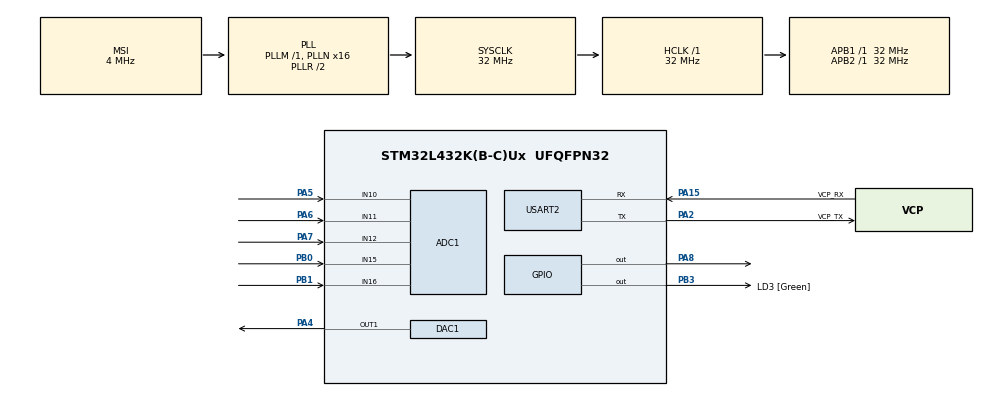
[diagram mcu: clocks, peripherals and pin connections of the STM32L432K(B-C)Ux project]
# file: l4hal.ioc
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ADC1.Channel-0\#ChannelRegularConversion=ADC_CHANNEL_10
ADC1.Channel-1\#ChannelRegularConversion=ADC_CHANNEL_11
ADC1.Channel-2\#ChannelRegularConversion=ADC_CHANNEL_12
ADC1.Channel-3\#ChannelRegularConversion=ADC_CHANNEL_10
ADC1.Channel-4\#ChannelRegularConversion=ADC_CHANNEL_15
ADC1.Channel-5\#ChannelRegularConversion=ADC_CHANNEL_16
ADC1.ClockPrescaler=ADC_CLOCK_ASYNC_DIV4
ADC1.ContinuousConvMode=ENABLE
ADC1.DMAContinuousRequests=ENABLE
ADC1.EOCSelection=ADC_EOC_SEQ_CONV
ADC1.NbrOfConversion=6
ADC1.NbrOfConversionFlag=1
ADC1.OffsetNumber-0\#ChannelRegularConversion=ADC_OFFSET_NONE
ADC1.OffsetNumber-1\#ChannelRegularConversion=ADC_OFFSET_NONE
ADC1.OffsetNumber-2\#ChannelRegularConversion=ADC_OFFSET_NONE
ADC1.OffsetNumber-3\#ChannelRegularConversion=ADC_OFFSET_NONE
ADC1.OffsetNumber-4\#ChannelRegularConversion=ADC_OFFSET_NONE
ADC1.OffsetNumber-5\#ChannelRegularConversion=ADC_OFFSET_NONE
ADC1.Rank-0\#ChannelRegularConversion=1
ADC1.Rank-1\#ChannelRegularConversion=2
ADC1.Rank-2\#ChannelRegularConversion=3
ADC1.Rank-3\#ChannelRegularConversion=4
ADC1.Rank-4\#ChannelRegularConversion=5
ADC1.Rank-5\#ChannelRegularConversion=6
ADC1.SamplingTime-0\#ChannelRegularConversion=ADC_SAMPLETIME_47CYCLES_5
ADC1.SamplingTime-1\#ChannelRegularConversion=ADC_SAMPLETIME_47CYCLES_5
ADC1.SamplingTime-2\#ChannelRegularConversion=ADC_SAMPLETIME_47CYCLES_5
ADC1.SamplingTime-3\#ChannelRegularConversion=ADC_SAMPLETIME_47CYCLES_5
ADC1.SamplingTime-4\#ChannelRegularConversion=ADC_SAMPLETIME_47CYCLES_5
ADC1.SamplingTime-5\#ChannelRegularConversion=ADC_SAMPLETIME_47CYCLES_5
ADC1.master=1
Dma.ADC1.0.Direction=DMA_PERIPH_TO_MEMORY
Dma.ADC1.0.Instance=DMA2_Channel3
Dma.ADC1.0.MemDataAlignment=DMA_MDATAALIGN_HALFWORD
Dma.ADC1.0.MemInc=DMA_MINC_ENABLE
Dma.ADC1.0.Mode=DMA_CIRCULAR
Dma.ADC1.0.PeriphDataAlignment=DMA_PDATAALIGN_HALFWORD
Dma.ADC1.0.PeriphInc=DMA_PINC_DISABLE
Dma.ADC1.0.Priority=DMA_PRIORITY_LOW
Dma.Request0=ADC1
Mcu.Family=STM32L4
Mcu.Name=STM32L432K(B-C)Ux
Mcu.Package=UFQFPN32
NVIC.DMA2_Channel3_IRQn=true\:0\:0\:false\:false\:true\:false\:true
NVIC.PriorityGroup=NVIC_PRIORITYGROUP_4
NVIC.TIM1_BRK_TIM15_IRQn=true\:0\:0\:false\:false\:true\:true\:true
NVIC.TIM2_IRQn=true\:0\:0\:false\:false\:true\:true\:true
PA0.GPIO_Label=MCO [High speed clock in]
PA0.Mode=HSE-External-Clock-Source-for-LittleOrca
PA0.Signal=RCC_CK_IN
PA13\ (JTMS-SWDIO).GPIO_Label=SWDIO
PA13\ (JTMS-SWDIO).Mode=Serial_Wire
PA13\ (JTMS-SWDIO).Signal=SYS_JTMS-SWDIO
PA14\ (JTCK-SWCLK).GPIO_Label=SWCLK
PA14\ (JTCK-SWCLK).Mode=Serial_Wire
PA14\ (JTCK-SWCLK).Signal=SYS_JTCK-SWCLK
PA15\ (JTDI).GPIO_Label=VCP_RX
PA15\ (JTDI).Mode=Asynchronous
PA15\ (JTDI).Signal=USART2_RX
PA2.GPIO_Label=VCP_TX
PA2.Mode=Asynchronous
PA2.Signal=USART2_TX
PA4.Signal=COMP_DAC11_group
PA5.Signal=ADCx_IN10
PA6.Signal=ADCx_IN11
PA7.Signal=ADCx_IN12
PA8.Signal=GPIO_Output
PB0.Signal=ADCx_IN15
PB1.Signal=ADCx_IN16
PB3\ (JTDO-TRACESWO).GPIO_Label=LD3 [Green]
PB3\ (JTDO-TRACESWO).Signal=GPIO_Output
PC14-OSC32_IN\ (PC14).Mode=LSE-External-Oscillator
PC14-OSC32_IN\ (PC14).Signal=RCC_OSC32_IN
PC15-OSC32_OUT\ (PC15).Mode=LSE-External-Oscillator
PC15-OSC32_OUT\ (PC15).Signal=RCC_OSC32_OUT
ProjectManager.HeapSize=0x200
ProjectManager.StackSize=0x400
ProjectManager.TargetToolchain=Makefile
RCC.ADCFreq_Value=32000000
RCC.AHBFreq_Value=32000000
RCC.APB1Freq_Value=32000000
RCC.APB1TimFreq_Value=32000000
RCC.APB2Freq_Value=32000000
RCC.APB2TimFreq_Value=32000000
RCC.CortexFreq_Value=32000000
RCC.HCLKFreq_Value=32000000
RCC.HSE_VALUE=8000000
RCC.HSI16_VALUE=16000000
RCC.HSI48_VALUE=48000000
RCC.HSI_VALUE=16000000
RCC.MSI_VALUE=4000000
RCC.PLLMUL=RCC_PLLMUL_4
RCC.PLLN=16
RCC.PLLSAI1N=16
RCC.SYSCLKFreq_VALUE=32000000
RCC.SYSCLKSource=RCC_SYSCLKSOURCE_PLLCLK
RCC.USBFreq_Value=32000000
RCC.VCOOutputFreq_Value=64000000
SH.ADCx_IN10.0=ADC1_IN10,IN10-Single-Ended
SH.ADCx_IN11.0=ADC1_IN11,IN11-Single-Ended
SH.ADCx_IN12.0=ADC1_IN12,IN12-Single-Ended
SH.ADCx_IN15.0=ADC1_IN15,IN15-Single-Ended
SH.ADCx_IN16.0=ADC1_IN16,IN16-Single-Ended
SH.COMP_DAC11_group.0=DAC1_OUT1,DAC_OUT1
TIM15.Period=10
TIM15.Prescaler=128
TIM2.Period=10
TIM2.Prescaler=200
USART2.VirtualMode-Asynchronous=VM_ASYNC
VP_TIM15_VS_ClockSourceINT.Mode=Internal
VP_TIM2_VS_ClockSourceINT.Mode=Internal
board=NUCLEO-L432KC

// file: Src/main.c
/* USER CODE BEGIN Header */
/**
  ******************************************************************************
  * @file           : main.c
  * @brief          : Main program body
  ******************************************************************************
  * @attention
  *
  * <h2><center>&copy; Copyright (c) 2020 STMicroelectronics.
  * All rights reserved.</center></h2>
  *
  * This software component is licensed by ST under BSD 3-Clause license,
  * the "License"; You may not use this file except in compliance with the
  * License. You may obtain a copy of the License at:
  *                        opensource.org/licenses/BSD-3-Clause
  *
  ******************************************************************************
  */
/* USER CODE END Header */

#include "main.h"

/* USER CODE BEGIN Includes */
#include <string.h>
/* USER CODE END Includes */

ADC_HandleTypeDef hadc1;
DMA_HandleTypeDef hdma_adc1;

DAC_HandleTypeDef hdac1;

TIM_HandleTypeDef htim2;
TIM_HandleTypeDef htim15;

UART_HandleTypeDef huart2;

void SystemClock_Config(void);
static void MX_GPIO_Init(void);
static void MX_DMA_Init(void);
static void MX_ADC1_Init(void);
static void MX_DAC1_Init(void);
static void MX_USART2_UART_Init(void);
static void MX_TIM2_Init(void);
static void MX_TIM15_Init(void);

/* USER CODE BEGIN 0 */
void debugPrintln(UART_HandleTypeDef *huart, char _out[]){
 HAL_UART_Transmit(huart, (uint8_t *) _out, strlen(_out), 10);
 char newline[4] = "\r\n";
 HAL_UART_Transmit(huart, (uint8_t *) newline, 2, 10);
}
void HAL_ADC_ConvHalfCpltCallback(ADC_HandleTypeDef* hadc)
{
  value_adc = ADC_BUF[0];
}
void HAL_ADC_ConvCpltCallback(ADC_HandleTypeDef* hadc)
{
  value_adc = ADC_BUF[3];
}
/* USER CODE END 0 */

int main(void)
{

  /* MCU Configuration--------------------------------------------------------*/

  /* Reset of all peripherals, Initializes the Flash interface and the Systick. */
  HAL_Init();

  /* Configure the system clock */
  SystemClock_Config();

  /* Initialize all configured peripherals */
  MX_GPIO_Init();
  MX_DMA_Init();
  MX_ADC1_Init();
  MX_DAC1_Init();
  MX_USART2_UART_Init();
  MX_TIM2_Init();
  MX_TIM15_Init();
  /* USER CODE BEGIN 2 */
  debugPrintln(&huart2, (char*) "Setting effects....");
  default_init_reverb(&r);
  default_init_antinoise(&a);
  default_init_chorus(&c);
  debugPrintln(&huart2, (char*) "Setting up HAL....");
  HAL_DAC_Start(&hdac1, DAC_CHANNEL_1);
  debugPrintln(&huart2, (char*) "(ADC IT)");
  HAL_ADC_Start_DMA(&hadc1, (uint32_t*)&ADC_BUF, ADC_BUF_LEN);
  //HAL_ADCEx_Calibration_Start(&hadc1, ADC_SINGLE_ENDED);
  //HAL_ADC_Start_IT(&hadc1);
  debugPrintln(&huart2, (char*) "(TIM IT)");
  HAL_TIM_Base_Start_IT(&htim2);
  HAL_TIM_Base_Start_IT(&htim15);
  debugPrintln(&huart2, (char*) "done.");
  /* USER CODE END 2 */

  /* Infinite loop */
  /* USER CODE BEGIN WHILE */
  //c.freq = 0.01;
  while (1)
  {

    uint16_t POT1 = ADC_BUF[1]; //A5
    uint16_t POT2 = ADC_BUF[2]; //A6
    uint16_t POT3 = ADC_BUF[4]; //D3
    uint16_t POT4 = ADC_BUF[5]; //D6

    //c.amp = 0.1;
    c.amp = 1-(atan((float)POT1/50)*(2/PI));
    //c.wet = ((double)POT2/4095);
    c.freq = 10-(atan((float)POT2/250)*(2/PI)*10);
    r.fade = ((float)POT3/4095)*0.5;
    int rawBuff = (((float)POT4/4095)*r.maxBufferSize);
    rawBuff = (floor(rawBuff / 100) * 100);
    r.bufferSize = rawBuff+1;
    /* USER CODE END WHILE */

  }
}

void SystemClock_Config(void)
{
  RCC_OscInitTypeDef RCC_OscInitStruct = {0};
  RCC_ClkInitTypeDef RCC_ClkInitStruct = {0};
  RCC_PeriphCLKInitTypeDef PeriphClkInit = {0};

  /** Configure LSE Drive Capability
  */
  HAL_PWR_EnableBkUpAccess();
  __HAL_RCC_LSEDRIVE_CONFIG(RCC_LSEDRIVE_LOW);
  /** Initializes the CPU, AHB and APB busses clocks
  */
  RCC_OscInitStruct.OscillatorType = RCC_OSCILLATORTYPE_LSE|RCC_OSCILLATORTYPE_MSI;
  RCC_OscInitStruct.LSEState = RCC_LSE_ON;
  RCC_OscInitStruct.MSIState = RCC_MSI_ON;
  RCC_OscInitStruct.MSICalibrationValue = 0;
  RCC_OscInitStruct.MSIClockRange = RCC_MSIRANGE_6;
  RCC_OscInitStruct.PLL.PLLState = RCC_PLL_ON;
  RCC_OscInitStruct.PLL.PLLSource = RCC_PLLSOURCE_MSI;
  RCC_OscInitStruct.PLL.PLLM = 1;
  RCC_OscInitStruct.PLL.PLLN = 16;
  RCC_OscInitStruct.PLL.PLLP = RCC_PLLP_DIV7;
  RCC_OscInitStruct.PLL.PLLQ = RCC_PLLQ_DIV2;
  RCC_OscInitStruct.PLL.PLLR = RCC_PLLR_DIV2;
  if (HAL_RCC_OscConfig(&RCC_OscInitStruct) != HAL_OK)
  {
    Error_Handler();
  }
  /** Initializes the CPU, AHB and APB busses clocks
  */
  RCC_ClkInitStruct.ClockType = RCC_CLOCKTYPE_HCLK|RCC_CLOCKTYPE_SYSCLK
                              |RCC_CLOCKTYPE_PCLK1|RCC_CLOCKTYPE_PCLK2;
  RCC_ClkInitStruct.SYSCLKSource = RCC_SYSCLKSOURCE_PLLCLK;
  RCC_ClkInitStruct.AHBCLKDivider = RCC_SYSCLK_DIV1;
  RCC_ClkInitStruct.APB1CLKDivider = RCC_HCLK_DIV1;
  RCC_ClkInitStruct.APB2CLKDivider = RCC_HCLK_DIV1;

  if (HAL_RCC_ClockConfig(&RCC_ClkInitStruct, FLASH_LATENCY_1) != HAL_OK)
  {
    Error_Handler();
  }
  PeriphClkInit.PeriphClockSelection = RCC_PERIPHCLK_USART2|RCC_PERIPHCLK_ADC;
  PeriphClkInit.Usart2ClockSelection = RCC_USART2CLKSOURCE_PCLK1;
  PeriphClkInit.AdcClockSelection = RCC_ADCCLKSOURCE_PLLSAI1;
  PeriphClkInit.PLLSAI1.PLLSAI1Source = RCC_PLLSOURCE_MSI;
  PeriphClkInit.PLLSAI1.PLLSAI1M = 1;
  PeriphClkInit.PLLSAI1.PLLSAI1N = 16;
  PeriphClkInit.PLLSAI1.PLLSAI1P = RCC_PLLP_DIV7;
  PeriphClkInit.PLLSAI1.PLLSAI1Q = RCC_PLLQ_DIV2;
  PeriphClkInit.PLLSAI1.PLLSAI1R = RCC_PLLR_DIV2;
  PeriphClkInit.PLLSAI1.PLLSAI1ClockOut = RCC_PLLSAI1_ADC1CLK;
  if (HAL_RCCEx_PeriphCLKConfig(&PeriphClkInit) != HAL_OK)
  {
    Error_Handler();
  }
  /** Configure the main internal regulator output voltage
  */
  if (HAL_PWREx_ControlVoltageScaling(PWR_REGULATOR_VOLTAGE_SCALE1) != HAL_OK)
  {
    Error_Handler();
  }
  /** Enable MSI Auto calibration
  */
  HAL_RCCEx_EnableMSIPLLMode();
}

static void MX_ADC1_Init(void)
{

  ADC_ChannelConfTypeDef sConfig = {0};

  /** Common config
  */
  hadc1.Instance = ADC1;
  hadc1.Init.ClockPrescaler = ADC_CLOCK_ASYNC_DIV4;
  hadc1.Init.Resolution = ADC_RESOLUTION_12B;
  hadc1.Init.DataAlign = ADC_DATAALIGN_RIGHT;
  hadc1.Init.ScanConvMode = ADC_SCAN_ENABLE;
  hadc1.Init.EOCSelection = ADC_EOC_SEQ_CONV;
  hadc1.Init.LowPowerAutoWait = DISABLE;
  hadc1.Init.ContinuousConvMode = ENABLE;
  hadc1.Init.NbrOfConversion = 6;
  hadc1.Init.DiscontinuousConvMode = DISABLE;
  hadc1.Init.NbrOfDiscConversion = 1;
  hadc1.Init.ExternalTrigConv = ADC_SOFTWARE_START;
  hadc1.Init.ExternalTrigConvEdge = ADC_EXTERNALTRIGCONVEDGE_NONE;
  hadc1.Init.DMAContinuousRequests = ENABLE;
  hadc1.Init.Overrun = ADC_OVR_DATA_PRESERVED;
  hadc1.Init.OversamplingMode = DISABLE;
  if (HAL_ADC_Init(&hadc1) != HAL_OK)
  {
    Error_Handler();
  }
  /** Configure Regular Channel
  */
  sConfig.Channel = ADC_CHANNEL_10;
  sConfig.Rank = ADC_REGULAR_RANK_1;
  sConfig.SamplingTime = ADC_SAMPLETIME_47CYCLES_5;
  sConfig.SingleDiff = ADC_SINGLE_ENDED;
  sConfig.OffsetNumber = ADC_OFFSET_NONE;
  sConfig.Offset = 0;
  if (HAL_ADC_ConfigChannel(&hadc1, &sConfig) != HAL_OK)
  {
    Error_Handler();
  }
  /** Configure Regular Channel
  */
  sConfig.Channel = ADC_CHANNEL_11;
  sConfig.Rank = ADC_REGULAR_RANK_2;
  if (HAL_ADC_ConfigChannel(&hadc1, &sConfig) != HAL_OK)
  {
    Error_Handler();
  }
  /** Configure Regular Channel
  */
  sConfig.Channel = ADC_CHANNEL_12;
  sConfig.Rank = ADC_REGULAR_RANK_3;
  if (HAL_ADC_ConfigChannel(&hadc1, &sConfig) != HAL_OK)
  {
    Error_Handler();
  }
  /** Configure Regular Channel
  */
  sConfig.Channel = ADC_CHANNEL_10;
  sConfig.Rank = ADC_REGULAR_RANK_4;
  if (HAL_ADC_ConfigChannel(&hadc1, &sConfig) != HAL_OK)
  {
    Error_Handler();
  }
  /** Configure Regular Channel
  */
  sConfig.Channel = ADC_CHANNEL_15;
  sConfig.Rank = ADC_REGULAR_RANK_5;
  if (HAL_ADC_ConfigChannel(&hadc1, &sConfig) != HAL_OK)
  {
    Error_Handler();
  }
  /** Configure Regular Channel
  */
  sConfig.Channel = ADC_CHANNEL_16;
  sConfig.Rank = ADC_REGULAR_RANK_6;
  if (HAL_ADC_ConfigChannel(&hadc1, &sConfig) != HAL_OK)
  {
    Error_Handler();
  }
  /* USER CODE BEGIN ADC1_Init 2 */
  hadc1.Init.EOCSelection = EOC_SEQ_CONV;
  if (HAL_ADC_Init(&hadc1) != HAL_OK)
  {
    Error_Handler();
  }
  /* USER CODE END ADC1_Init 2 */

}

static void MX_DAC1_Init(void)
{

  DAC_ChannelConfTypeDef sConfig = {0};

  /** DAC Initialization
  */
  hdac1.Instance = DAC1;
  if (HAL_DAC_Init(&hdac1) != HAL_OK)
  {
    Error_Handler();
  }
  /** DAC channel OUT1 config
  */
  sConfig.DAC_SampleAndHold = DAC_SAMPLEANDHOLD_DISABLE;
  sConfig.DAC_Trigger = DAC_TRIGGER_NONE;
  sConfig.DAC_OutputBuffer = DAC_OUTPUTBUFFER_ENABLE;
  sConfig.DAC_ConnectOnChipPeripheral = DAC_CHIPCONNECT_DISABLE;
  sConfig.DAC_UserTrimming = DAC_TRIMMING_FACTORY;
  if (HAL_DAC_ConfigChannel(&hdac1, &sConfig, DAC_CHANNEL_1) != HAL_OK)
  {
    Error_Handler();
  }

}

static void MX_TIM2_Init(void)
{

  TIM_ClockConfigTypeDef sClockSourceConfig = {0};
  TIM_MasterConfigTypeDef sMasterConfig = {0};

  htim2.Instance = TIM2;
  htim2.Init.Prescaler = 200;
  htim2.Init.CounterMode = TIM_COUNTERMODE_UP;
  htim2.Init.Period = 10;
  htim2.Init.ClockDivision = TIM_CLOCKDIVISION_DIV1;
  htim2.Init.AutoReloadPreload = TIM_AUTORELOAD_PRELOAD_DISABLE;
  if (HAL_TIM_Base_Init(&htim2) != HAL_OK)
  {
    Error_Handler();
  }
  sClockSourceConfig.ClockSource = TIM_CLOCKSOURCE_INTERNAL;
  if (HAL_TIM_ConfigClockSource(&htim2, &sClockSourceConfig) != HAL_OK)
  {
    Error_Handler();
  }
  sMasterConfig.MasterOutputTrigger = TIM_TRGO_RESET;
  sMasterConfig.MasterSlaveMode = TIM_MASTERSLAVEMODE_DISABLE;
  if (HAL_TIMEx_MasterConfigSynchronization(&htim2, &sMasterConfig) != HAL_OK)
  {
    Error_Handler();
  }

}

static void MX_TIM15_Init(void)
{

  TIM_ClockConfigTypeDef sClockSourceConfig = {0};
  TIM_MasterConfigTypeDef sMasterConfig = {0};

  htim15.Instance = TIM15;
  htim15.Init.Prescaler = 128;
  htim15.Init.CounterMode = TIM_COUNTERMODE_UP;
  htim15.Init.Period = 10;
  htim15.Init.ClockDivision = TIM_CLOCKDIVISION_DIV1;
  htim15.Init.RepetitionCounter = 0;
  htim15.Init.AutoReloadPreload = TIM_AUTORELOAD_PRELOAD_DISABLE;
  if (HAL_TIM_Base_Init(&htim15) != HAL_OK)
  {
    Error_Handler();
  }
  sClockSourceConfig.ClockSource = TIM_CLOCKSOURCE_INTERNAL;
  if (HAL_TIM_ConfigClockSource(&htim15, &sClockSourceConfig) != HAL_OK)
  {
    Error_Handler();
  }
  sMasterConfig.MasterOutputTrigger = TIM_TRGO_RESET;
  sMasterConfig.MasterSlaveMode = TIM_MASTERSLAVEMODE_DISABLE;
  if (HAL_TIMEx_MasterConfigSynchronization(&htim15, &sMasterConfig) != HAL_OK)
  {
    Error_Handler();
  }

}

static void MX_USART2_UART_Init(void)
{

  huart2.Instance = USART2;
  huart2.Init.BaudRate = 115200;
  huart2.Init.WordLength = UART_WORDLENGTH_8B;
  huart2.Init.StopBits = UART_STOPBITS_1;
  huart2.Init.Parity = UART_PARITY_NONE;
  huart2.Init.Mode = UART_MODE_TX_RX;
  huart2.Init.HwFlowCtl = UART_HWCONTROL_NONE;
  huart2.Init.OverSampling = UART_OVERSAMPLING_16;
  huart2.Init.OneBitSampling = UART_ONE_BIT_SAMPLE_DISABLE;
  huart2.AdvancedInit.AdvFeatureInit = UART_ADVFEATURE_NO_INIT;
  if (HAL_UART_Init(&huart2) != HAL_OK)
  {
    Error_Handler();
  }

}

static void MX_DMA_Init(void)
{

  /* DMA controller clock enable */
  __HAL_RCC_DMA2_CLK_ENABLE();

  /* DMA interrupt init */
  /* DMA2_Channel3_IRQn interrupt configuration */
  HAL_NVIC_SetPriority(DMA2_Channel3_IRQn, 0, 0);
  HAL_NVIC_EnableIRQ(DMA2_Channel3_IRQn);

}

static void MX_GPIO_Init(void)
{
  GPIO_InitTypeDef GPIO_InitStruct = {0};

  /* GPIO Ports Clock Enable */
  __HAL_RCC_GPIOC_CLK_ENABLE();
  __HAL_RCC_GPIOA_CLK_ENABLE();
  __HAL_RCC_GPIOB_CLK_ENABLE();

  /*Configure GPIO pin Output Level */
  HAL_GPIO_WritePin(GPIOA, GPIO_PIN_8, GPIO_PIN_RESET);

  /*Configure GPIO pin Output Level */
  HAL_GPIO_WritePin(LD3_GPIO_Port, LD3_Pin, GPIO_PIN_RESET);

  /*Configure GPIO pin : PA8 */
  GPIO_InitStruct.Pin = GPIO_PIN_8;
  GPIO_InitStruct.Mode = GPIO_MODE_OUTPUT_PP;
  GPIO_InitStruct.Pull = GPIO_NOPULL;
  GPIO_InitStruct.Speed = GPIO_SPEED_FREQ_LOW;
  HAL_GPIO_Init(GPIOA, &GPIO_InitStruct);

  /*Configure GPIO pin : LD3_Pin */
  GPIO_InitStruct.Pin = LD3_Pin;
  GPIO_InitStruct.Mode = GPIO_MODE_OUTPUT_PP;
  GPIO_InitStruct.Pull = GPIO_NOPULL;
  GPIO_InitStruct.Speed = GPIO_SPEED_FREQ_LOW;
  HAL_GPIO_Init(LD3_GPIO_Port, &GPIO_InitStruct);

}

void Error_Handler(void)
{
}

/************************ (C) COPYRIGHT STMicroelectronics *****END OF FILE****/
